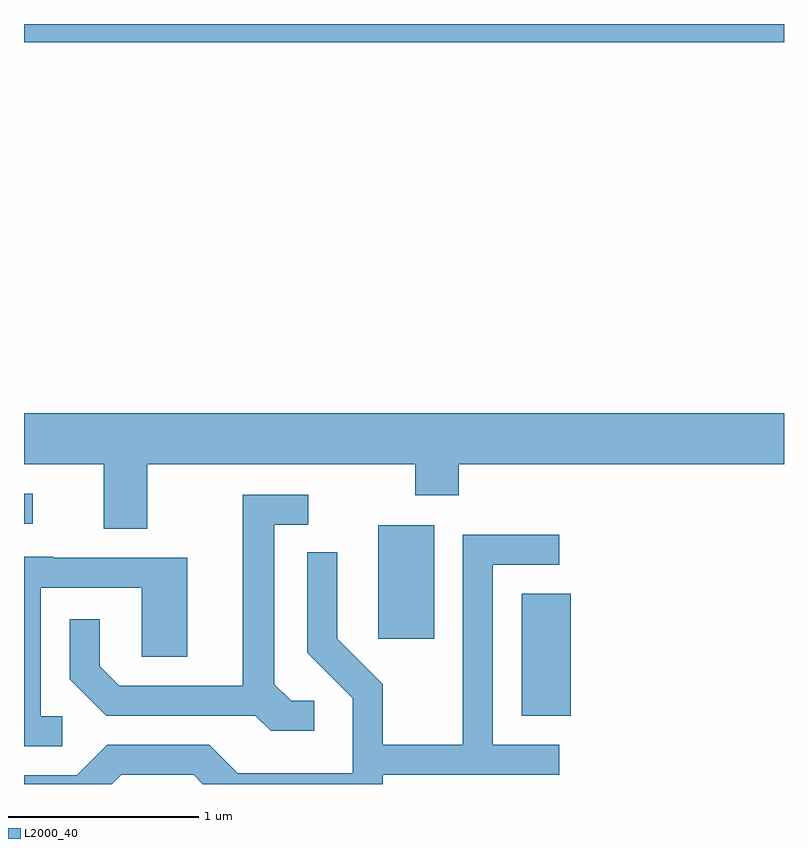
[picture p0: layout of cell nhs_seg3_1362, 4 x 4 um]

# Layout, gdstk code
import gdstk
lib = gdstk.Library(unit=1e-6, precision=1e-09)
def R(c, l, rs):  # rectangles x0, y0, x1, y1
    for r in rs: c.add(gdstk.rectangle(r[:2], r[2:], *l))
def P(c, l, *ps):  # polygons
    for p in ps: c.add(gdstk.Polygon(p, *l))
L2000_40 = (2000, 40)

nhs_seg3_1362 = lib.new_cell('nhs_seg3_1362')
R(nhs_seg3_1362, L2000_40, [(228.231,1120.251,228.489,1120.894), (227.476,1120.656,227.769,1121.254), (225.611,1121.261,225.658,1121.419), (225.611,1123.796,229.611,1123.892)])
P(nhs_seg3_1362, L2000_40, [(226.259,1121.576),(227.671,1121.576),(227.671,1121.411),(227.899,1121.411),(227.899,1121.576),(229.611,1121.576),(229.611,1121.844),(225.611,1121.844),(225.611,1121.576),(226.031,1121.576),(226.031,1121.236),(226.259,1121.236)],
  [(227.138,1120.329),(227.017,1120.329),(226.929,1120.417),(226.929,1121.256),(227.108,1121.256),(227.108,1121.414),(226.761,1121.414),(226.761,1120.409),(226.112,1120.409),(226.009,1120.512),(226.009,1120.758),(225.851,1120.758),(225.851,1120.444),(226.044,1120.251),(226.829,1120.251),(226.909,1120.171),(227.138,1120.171)],
  [(226.122,1119.941),(226.504,1119.941),(226.553,1119.892),(227.499,1119.892),(227.499,1119.941),(228.428,1119.941),(228.428,1120.099),(228.079,1120.099),(228.079,1121.046),(228.428,1121.046),(228.428,1121.204),(227.921,1121.204),(227.921,1120.099),(227.499,1120.099),(227.499,1120.417),(227.259,1120.657),(227.259,1121.113),(227.101,1121.113),(227.101,1120.584),(227.341,1120.344),(227.341,1119.949),(226.737,1119.949),(226.587,1120.099),(226.049,1120.099),(225.889,1119.939),(225.611,1119.939),(225.611,1119.892),(226.073,1119.892)],
  [(225.813,1120.249),(225.699,1120.249),(225.699,1120.926),(226.231,1120.926),(226.231,1120.561),(226.469,1120.561),(226.469,1121.084),(225.765,1121.084),(225.765,1121.089),(225.611,1121.089),(225.611,1120.091),(225.813,1120.091)])

lib.write_gds('nhs_seg3_1362.gds')
